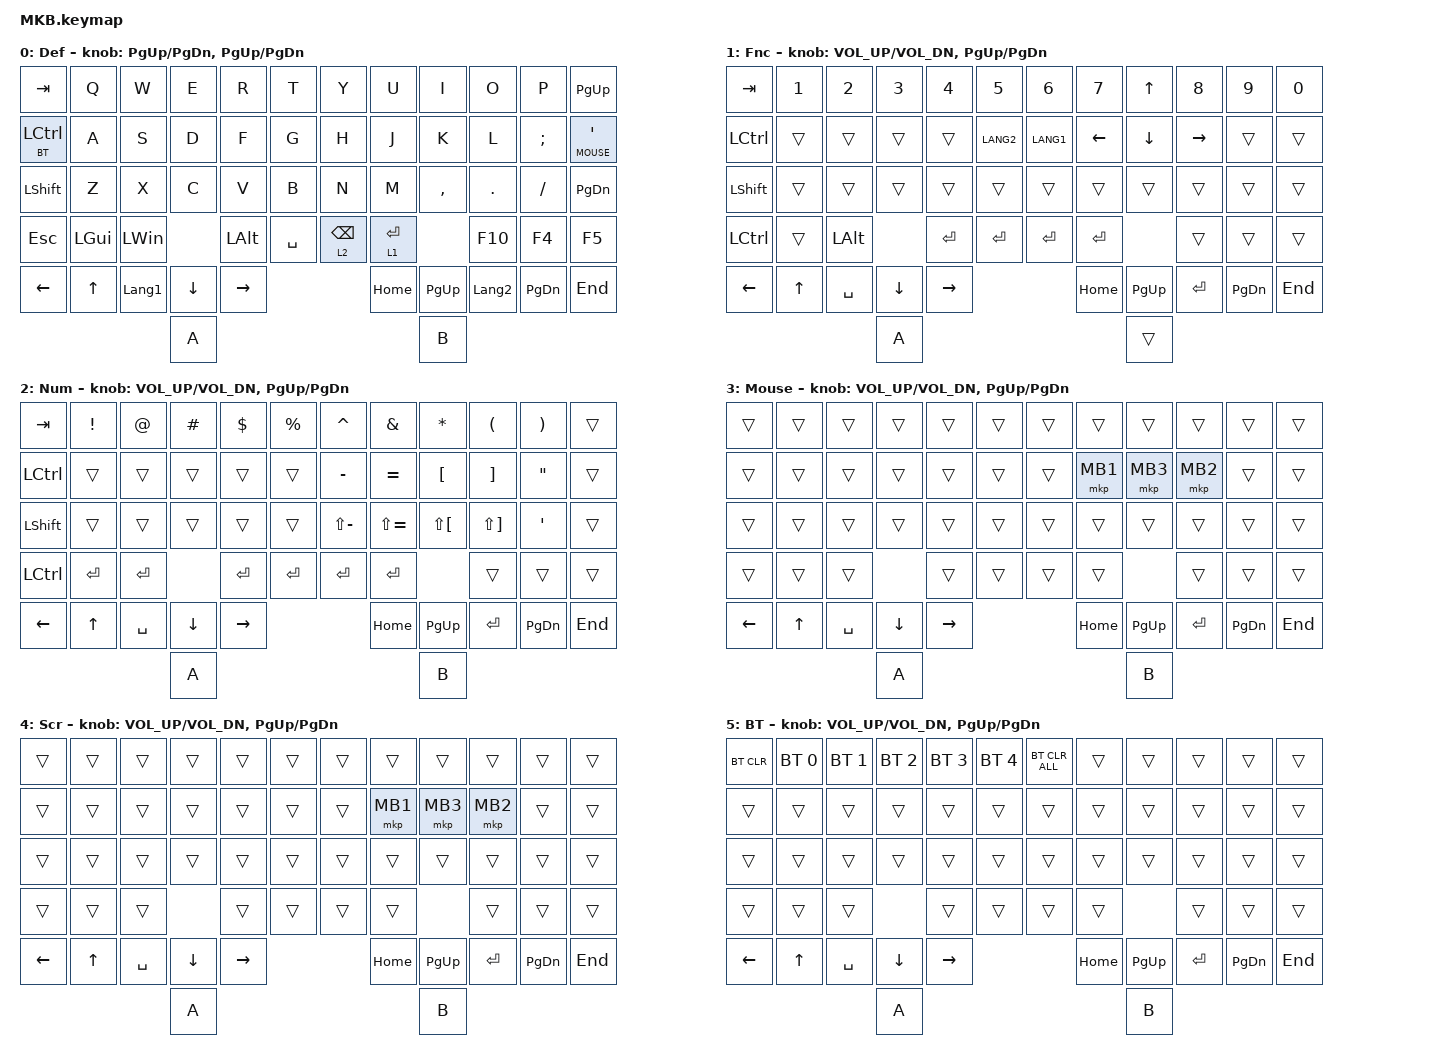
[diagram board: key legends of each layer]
// #include <layout_shift.dtsi>

#include <layout_shift_kp_override.dtsi>
#include <behaviors.dtsi>
#include <dt-bindings/zmk/bt.h>
#include <dt-bindings/zmk/keys.h>
#include <dt-bindings/zmk/pointing.h>

#define DEF 0
#define FUNC 1
#define NUM 2
#define MOUSE 3
#define SCROLL 4
#define BT 5

&mt {
    flavor = "balanced";
    tapping-term-ms = <280>;
    quick-tap-ms = <175>;
    require-prior-idle-ms = <150>;
};

/ {
    keymap {
        compatible = "zmk,keymap";

        default_layer {
            label = "Def";
            bindings = <
&kp TAB              &kp Q     &kp W           &kp E     &kp R         &kp T          &kp Y            &kp U        &kp I      &kp O           &kp P      &kp PAGE_UP
&lt BT LEFT_CONTROL  &kp A     &kp S           &kp D     &kp F         &kp G          &kp H            &kp J        &kp K      &kp L           &kp SEMI   &lt MOUSE SQT
&kp LSHFT            &kp Z     &kp X           &kp C     &kp V         &kp B          &kp N            &kp M        &kp COMMA  &kp DOT         &kp SLASH  &kp PAGE_DOWN
&kp ESCAPE           &kp LGUI  &kp LEFT_WIN              &kp LEFT_ALT  &kp SPACE      &lt 2 BACKSPACE  &lt 1 ENTER             &kp F10         &kp F4     &kp F5
&kp LEFT             &kp UP    &kp LANGUAGE_1  &kp DOWN  &kp RIGHT                                     &kp HOME     &kp PG_UP  &kp LANGUAGE_2  &kp PG_DN  &kp END
                                               &kp A                                                                &kp B
            >;

            sensor-bindings =
                <&inc_dec_kp PG_UP PG_DN>,
                <&inc_dec_kp PG_UP PG_DN>;
        };

        function_layer {
            label = "Fnc";
            bindings = <
&kp TAB           &kp NUMBER_1  &kp NUMBER_2  &kp NUMBER_3  &kp NUMBER_4  &kp NUMBER_5      &kp NUMBER_6  &kp NUMBER_7    &kp UP_ARROW    &kp NUMBER_8     &kp NUMBER_9  &kp NUMBER_0
&kp LEFT_CONTROL  &trans        &trans        &trans        &trans        &kp LANG2         &kp LANG1     &kp LEFT_ARROW  &kp DOWN_ARROW  &kp RIGHT_ARROW  &trans        &trans
&kp LEFT_SHIFT    &trans        &trans        &trans        &trans        &trans            &trans        &trans          &trans          &trans           &trans        &trans
&kp LEFT_CONTROL  &trans        &kp LALT                    &kp ENTER     &kp ENTER         &kp ENTER     &kp ENTER                       &trans           &trans        &trans
&kp LEFT          &kp UP        &kp SPACE     &kp DOWN      &kp RIGHT                                     &kp HOME        &kp PG_UP       &kp ENTER        &kp PG_DN     &kp END
                                              &kp A                                                                       &trans
            >;

            sensor-bindings = <&inc_dec_kp C_VOL_UP C_VOL_DN &inc_dec_kp PG_UP PG_DN>;
        };

        num_layer {
            label = "Num";
            bindings = <
&kp TAB           &kp EXCL   &kp AT     &kp HASH  &kp DOLLAR  &kp PERCENT      &kp CARET      &kp AMPS       &kp ASTRK             &kp LEFT_PARENTHESIS   &kp RIGHT_PARENTHESIS  &trans
&kp LEFT_CONTROL  &trans     &trans     &trans    &trans      &trans           &kp MINUS      &kp EQUAL      &kp LBKT              &kp RBKT               &kp DOUBLE_QUOTES      &trans
&kp LEFT_SHIFT    &trans     &trans     &trans    &trans      &trans           &kp LS(MINUS)  &kp LS(EQUAL)  &kp LS(LEFT_BRACKET)  &kp LS(RIGHT_BRACKET)  &kp SINGLE_QUOTE       &trans
&kp LEFT_CONTROL  &kp ENTER  &kp ENTER            &kp ENTER   &kp ENTER        &kp ENTER      &kp ENTER                            &trans                 &trans                 &trans
&kp LEFT          &kp UP     &kp SPACE  &kp DOWN  &kp RIGHT                                   &kp HOME       &kp PG_UP             &kp ENTER              &kp PG_DN              &kp END
                                        &kp A                                                                &kp B
            >;

            sensor-bindings = <&inc_dec_kp C_VOL_UP C_VOL_DN &inc_dec_kp PG_UP PG_DN>;
        };

        mouse_layer {
            label = "Mouse";
            bindings = <
&trans    &trans  &trans     &trans    &trans     &trans      &trans  &trans    &trans     &trans     &trans     &trans
&trans    &trans  &trans     &trans    &trans     &trans      &trans  &mkp MB1  &mkp MB3   &mkp MB2   &trans     &trans
&trans    &trans  &trans     &trans    &trans     &trans      &trans  &trans    &trans     &trans     &trans     &trans
&trans    &trans  &trans               &trans     &trans      &trans  &trans               &trans     &trans     &trans
&kp LEFT  &kp UP  &kp SPACE  &kp DOWN  &kp RIGHT                      &kp HOME  &kp PG_UP  &kp ENTER  &kp PG_DN  &kp END
                             &kp A                                              &kp B
            >;

            sensor-bindings = <&inc_dec_kp C_VOL_UP C_VOL_DN &inc_dec_kp PG_UP PG_DN>;
        };

        scroll_layer {
            label = "Scr";
            bindings = <
&trans    &trans  &trans     &trans    &trans     &trans      &trans  &trans    &trans     &trans     &trans     &trans
&trans    &trans  &trans     &trans    &trans     &trans      &trans  &mkp MB1  &mkp MB3   &mkp MB2   &trans     &trans
&trans    &trans  &trans     &trans    &trans     &trans      &trans  &trans    &trans     &trans     &trans     &trans
&trans    &trans  &trans               &trans     &trans      &trans  &trans               &trans     &trans     &trans
&kp LEFT  &kp UP  &kp SPACE  &kp DOWN  &kp RIGHT                      &kp HOME  &kp PG_UP  &kp ENTER  &kp PG_DN  &kp END
                             &kp A                                              &kp B
            >;

            sensor-bindings = <&inc_dec_kp C_VOL_UP C_VOL_DN &inc_dec_kp PG_UP PG_DN>;
        };

        bt_layer {
            label = "BT";
            bindings = <
&bt BT_CLR  &bt BT_SEL 0  &bt BT_SEL 1  &bt BT_SEL 2  &bt BT_SEL 3  &bt BT_SEL 4      &bt BT_CLR_ALL  &trans    &trans     &trans     &trans     &trans
&trans      &trans        &trans        &trans        &trans        &trans            &trans          &trans    &trans     &trans     &trans     &trans
&trans      &trans        &trans        &trans        &trans        &trans            &trans          &trans    &trans     &trans     &trans     &trans
&trans      &trans        &trans                      &trans        &trans            &trans          &trans               &trans     &trans     &trans
&kp LEFT    &kp UP        &kp SPACE     &kp DOWN      &kp RIGHT                                       &kp HOME  &kp PG_UP  &kp ENTER  &kp PG_DN  &kp END
                                        &kp A                                                                   &kp B
            >;

            sensor-bindings = <&inc_dec_kp C_VOL_UP C_VOL_DN &inc_dec_kp PG_UP PG_DN>;
        };
    };
};
